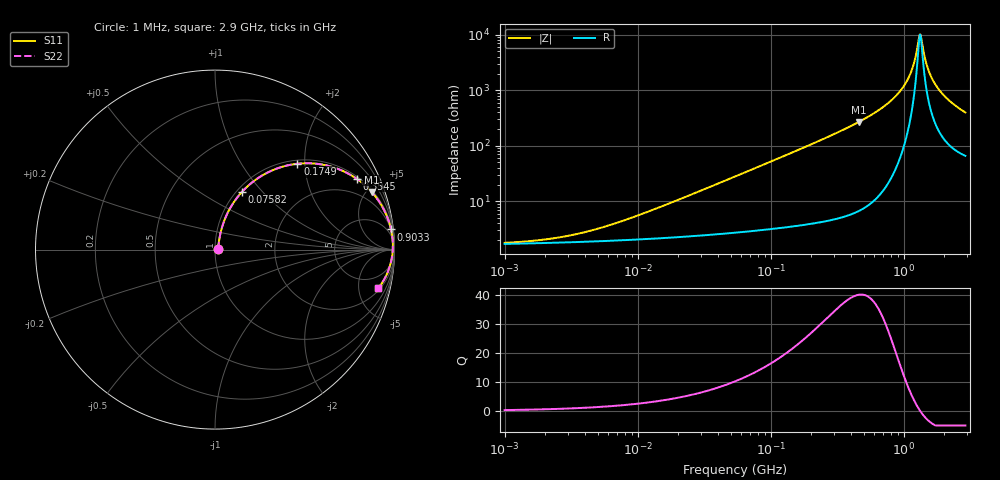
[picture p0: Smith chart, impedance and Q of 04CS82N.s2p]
# MHz  S  MA  R  50
!Freq  MagS11  AngS11  MagS21  AngS21  MagS12  AngS12  MagS22  AngS22
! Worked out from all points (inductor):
!   803 points, 1 MHz to 2.9 GHz, reference 50 ohm
!   read as one part in series: L = 82 nH near 12.27 MHz
!   highest Q = 40.1 at 459.2 MHz (marker M1), where L = 93.2 nH
!   self-resonance near 1.318 GHz
!   S11 on the Smith chart (normalised r, x): 1 MHz: 1.03, +0.01; 75.82 MHz: 1.06, +0.78; 174.9 MHz: 1.07, +1.83; 354.5 MHz: 1.11, +3.93; 903.3 MHz: 2, +17; 2.9 GHz: 2.32, -7.83
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1  0.01755 16.5  0.9832 -0.3  0.9832 -0.3  0.01755 16.5
2.047099  0.02031 30.1  0.9825 -0.6  0.9825 -0.6  0.02031 30.1
3.79371  0.02648 45.3  0.9816 -1.1  0.9816 -1.1  0.02648 45.3
14.39223  0.0754 69.7  0.9764 -4.2  0.9764 -4.2  0.0754 69.7
54.05936  0.2633 69.2  0.9395 -15.2  0.9395 -15.2  0.2633 69.2
75.82241  0.3568 64.9  0.9078 -20.8  0.9078 -20.8  0.3568 64.9
174.9013  0.6629 46.2  0.7222 -41.5  0.7222 -41.5  0.6629 46.2
205.0855  0.7217 41.7  0.6662 -46.2  0.6662 -46.2  0.7217 41.7
354.4953  0.882 26.6  0.4482 -61.8  0.4482 -61.8  0.882 26.6
459.1623  0.9298 20.2  0.3457 -68.4  0.3457 -68.4  0.9298 20.2
770.3316  0.9805 9.4  0.1636 -78.5  0.1636 -78.5  0.9805 9.4
903.2743  0.9872 6.5  0.1137 -80.3  0.1137 -80.3  0.9872 6.5
1017.832  0.9901 4.4  0.0778 -80.4  0.0778 -80.4  0.9901 4.4
1113.188  0.9911 2.9  0.05157 -78.6  0.05157 -78.6  0.9911 2.9
1193.488  0.9912 1.8  0.03176 -73.0  0.03176 -73.0  0.9912 1.8
1292.377  0.9906 0.4  0.01203 -38.5  0.01203 -38.5  0.9906 0.4
1331.537  0.9902 -0.1  0.009844 6.1  0.009844 6.1  0.9902 -0.1
1371.884  0.9897 -0.6  0.01409 42.8  0.01409 42.8  0.9897 -0.6
1515.413  0.9872 -2.2  0.0402 70.3  0.0402 70.3  0.9872 -2.2
1724.682  0.982 -4.3  0.07726 74.4  0.07726 74.4  0.982 -4.3
2146.739  0.9676 -8.1  0.142 72.8  0.142 72.8  0.9676 -8.1
2900  0.9337 -13.4  0.2352 67.0  0.2352 67.0  0.9337 -13.4
